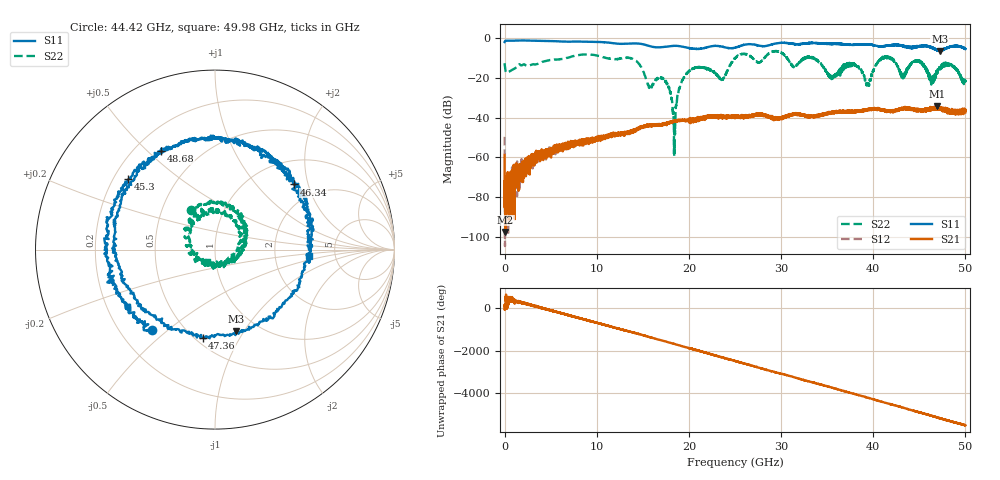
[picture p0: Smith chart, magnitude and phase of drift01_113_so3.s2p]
!Created with skrf (http://scikit-rf.org).
# Hz S RI R 50.0
!freq ReS11 ImS11 ReS21 ImS21 ReS12 ImS12 ReS22 ImS22
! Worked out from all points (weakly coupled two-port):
!   10001 points, 300 kHz to 50 GHz, reference 50 ohm
!   highest |S21| = -34.35 dB at 46.91 GHz (marker M1); lowest = -97.4 dB at 75.3 MHz (marker M2)
!   lowest |S11| = -6.6 dB at 47.21 GHz (marker M3), VSWR 2.77, Z = 39.5 - j46 ohm
!   |S11| at or under -10 dB: nowhere
!   |S22| runs from -59.6 to -6.7 dB; largest |S21 - S12| = 0.0037
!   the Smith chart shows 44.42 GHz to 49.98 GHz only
!   S11 on the Smith chart (normalised r, x): 44.42 GHz: 0.33, -0.44; 45.3 GHz: 0.26, +0.33; 46.34 GHz: 1.51, +1.63; 47.36 GHz: 0.55, -0.71; 48.68 GHz: 0.30, +0.55; 49.98 GHz: 3.19, -0.31
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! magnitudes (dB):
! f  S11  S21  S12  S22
! 300 kHz  -2.1  -58.8  -49.7  -12.8
! 75.3 MHz  -1.5  -97.4  -92.0  -16.0
! 290.3 MHz  -1.4  -78.4  -79.5  -17.5
! 8.335 GHz  -1.9  -52.2  -52.3  -8.5
! 16.67 GHz  -4.8  -43.8  -43.6  -20.0
! 18.44 GHz  -4.1  -42.0  -41.9  -47.3
! 19.95 GHz  -5.1  -41.3  -41.6  -17.1
! 23.6 GHz  -4.5  -40.4  -39.3  -20.7
! 25 GHz  -5.0  -39.9  -39.2  -10.3
! 33.34 GHz  -2.6  -39.3  -39.3  -9.9
! 39.45 GHz  -3.3  -36.2  -36.2  -23.7
! 41.67 GHz  -3.9  -36.5  -36.7  -9.7
! 43.19 GHz  -4.1  -35.3  -36.0  -19.6
! 44.42 GHz  -4.9  -36.1  -36.2  -11.9
! 45.3 GHz  -4.1  -35.8  -36.5  -13.3
! 46.34 GHz  -4.9  -35.4  -35.1  -21.7
! 46.91 GHz  -6.0  -34.4  -35.0  -17.6
! 47.21 GHz  -6.6  -35.3  -35.5  -15.0
! 47.36 GHz  -6.1  -35.8  -35.7  -14.3
! 48.68 GHz  -4.0  -36.9  -37.2  -14.0
! 49.98 GHz  -5.6  -36.9  -35.9  -21.5
! 50 GHz  -5.7  -37.4  -36.4  -21.6
